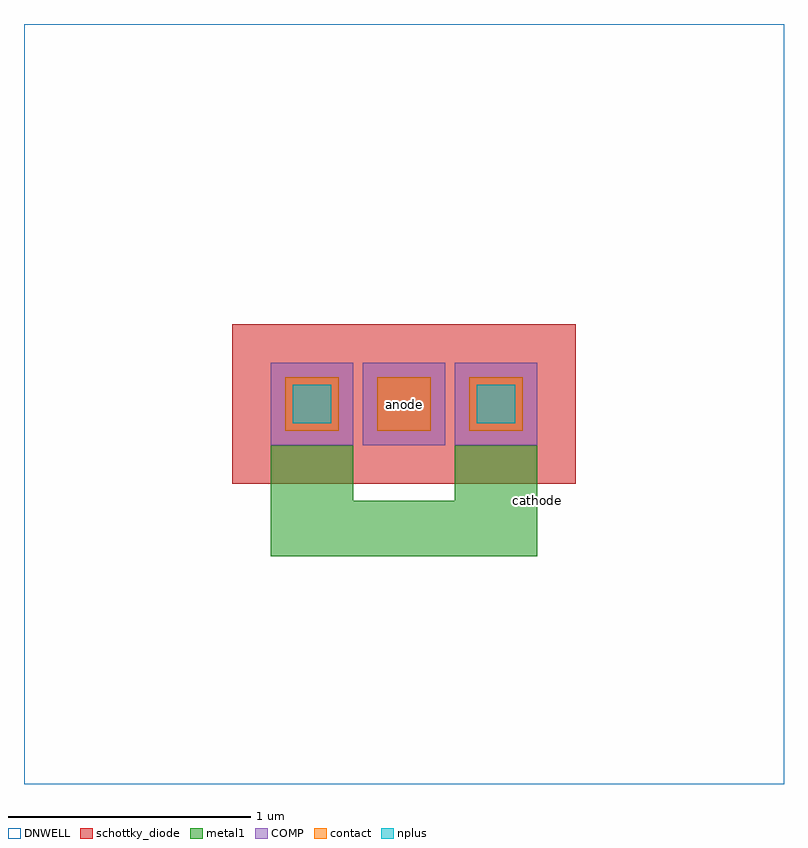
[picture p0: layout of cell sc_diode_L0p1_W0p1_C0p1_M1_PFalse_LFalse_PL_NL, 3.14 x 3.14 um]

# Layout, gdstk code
import gdstk
lib = gdstk.Library(unit=1e-6, precision=1e-09)
def R(c, l, rs):  # rectangles x0, y0, x1, y1
    for r in rs: c.add(gdstk.rectangle(r[:2], r[2:], *l))
DNWELL = (12, 0)
COMP = (22, 0)
nplus = (32, 0)
contact = (33, 0)
metal1 = (34, 0)
schottky_diode = (241, 0)

rectangle_gdsfactorypcom = lib.new_cell('rectangle_gdsfactorypcomponentspshapesprectangle_S0p1_0_050bad12')
R(rectangle_gdsfactorypcom, COMP, [(0,0,0.1,0.1)])

c_rectangle_gdsfactorypcom = lib.new_cell('rectangle_gdsfactorypcomponentspshapesprectangle_S0p16__cb2bada4')
R(c_rectangle_gdsfactorypcom, nplus, [(0,0,0.16,0.16)])

c_rectangle_gdsfactorypcom_ = lib.new_cell('rectangle_gdsfactorypcomponentspshapesprectangle_S0p22__bfea7709')
R(c_rectangle_gdsfactorypcom_, contact, [(0,0,0.22,0.22)])

via_generator_xr0_0p1_yr = lib.new_cell('via_generator_XR0_0p1_YR0_0p1_VS0p22_0p22_VLcontact_VE0_f40a647a')
via_generator_xr0_0p1_yr.add(gdstk.Reference(c_rectangle_gdsfactorypcom_, (-0.06,-0.06)))

c_rectangle_gdsfactorypcom__ = lib.new_cell('rectangle_gdsfactorypcomponentspshapesprectangle_S0p339_7cf635e5')
R(c_rectangle_gdsfactorypcom__, COMP, [(0,0,0.34,0.34)])

via_stack_xr0_0p1_yr0_0p = lib.new_cell('via_stack_XR0_0p1_YR0_0p1_ML1_CS0p22_0p22_CE0p07_ME0p06_19d2f936')
via_stack_xr0_0p1_yr0_0p.add(gdstk.Reference(via_generator_xr0_0p1_yr, (0,0)))
via_stack_xr0_0p1_yr0_0p.add(gdstk.Reference(c_rectangle_gdsfactorypcom__, (-0.12,-0.12)))

sc_cathode_strap_s0p1_0p = lib.new_cell('sc_cathode_strap_S0p1_0p1')
sc_cathode_strap_s0p1_0p.add(gdstk.Reference(rectangle_gdsfactorypcom, (0,0)))
sc_cathode_strap_s0p1_0p.add(gdstk.Reference(c_rectangle_gdsfactorypcom, (-0.03,-0.03)))
sc_cathode_strap_s0p1_0p.add(gdstk.Reference(via_stack_xr0_0p1_yr0_0p, (0,0)))

c_rectangle_gdsfactorypcom___ = lib.new_cell('rectangle_gdsfactorypcomponentspshapesprectangle_S0p339_1a8592d6')
R(c_rectangle_gdsfactorypcom___, metal1, [(0,0,0.34,0.23)])

c_rectangle_gdsfactorypcom____ = lib.new_cell('rectangle_gdsfactorypcomponentspshapesprectangle_S1p1_0_b979b4ff')
R(c_rectangle_gdsfactorypcom____, metal1, [(0,0,1.1,0.23)])

sc_anode_strap_s0p1_0p1 = lib.new_cell('sc_anode_strap_S0p1_0p1')
sc_anode_strap_s0p1_0p1.add(gdstk.Reference(rectangle_gdsfactorypcom, (0,0)))
sc_anode_strap_s0p1_0p1.add(gdstk.Reference(via_stack_xr0_0p1_yr0_0p, (0,0)))

c_rectangle_gdsfactorypcom_____ = lib.new_cell('rectangle_gdsfactorypcomponentspshapesprectangle_S1p420_01a1d5e8')
R(c_rectangle_gdsfactorypcom_____, schottky_diode, [(0,0,1.42,0.66)])

c_rectangle_gdsfactorypcom______ = lib.new_cell('rectangle_gdsfactorypcomponentspshapesprectangle_S3p139_ad27ce9b')
R(c_rectangle_gdsfactorypcom______, DNWELL, [(0,0,3.14,3.14)])

sc_diode_l0p1_w0p1_c0p1_ = lib.new_cell('sc_diode_L0p1_W0p1_C0p1_M1_PFalse_LFalse_PL_NL')
r = gdstk.Reference(sc_cathode_strap_s0p1_0p, (0,0)); r.repetition = gdstk.Repetition(2, 1, v1=(0.76,0), v2=(0,0)); sc_diode_l0p1_w0p1_c0p1_.add(r)
r = gdstk.Reference(c_rectangle_gdsfactorypcom___, (-0.12,-0.35)); r.repetition = gdstk.Repetition(2, 1, v1=(0.76,0), v2=(0,0)); sc_diode_l0p1_w0p1_c0p1_.add(r)
sc_diode_l0p1_w0p1_c0p1_.add(gdstk.Reference(c_rectangle_gdsfactorypcom____, (-0.12,-0.58)))
sc_diode_l0p1_w0p1_c0p1_.add(gdstk.Reference(sc_anode_strap_s0p1_0p1, (0.38,0)))
sc_diode_l0p1_w0p1_c0p1_.add(gdstk.Reference(c_rectangle_gdsfactorypcom_____, (-0.28,-0.28)))
sc_diode_l0p1_w0p1_c0p1_.add(gdstk.Reference(c_rectangle_gdsfactorypcom______, (-1.14,-1.52)))
sc_diode_l0p1_w0p1_c0p1_.add(gdstk.Label('cathode', (0.98,-0.35), layer=34, texttype=10))
sc_diode_l0p1_w0p1_c0p1_.add(gdstk.Label('anode', (0.43,0.05), layer=34, texttype=10))

lib.write_gds('sc_diode_L0p1_W0p1_C0p1_M1_PFalse_LFalse_PL_NL.gds')
